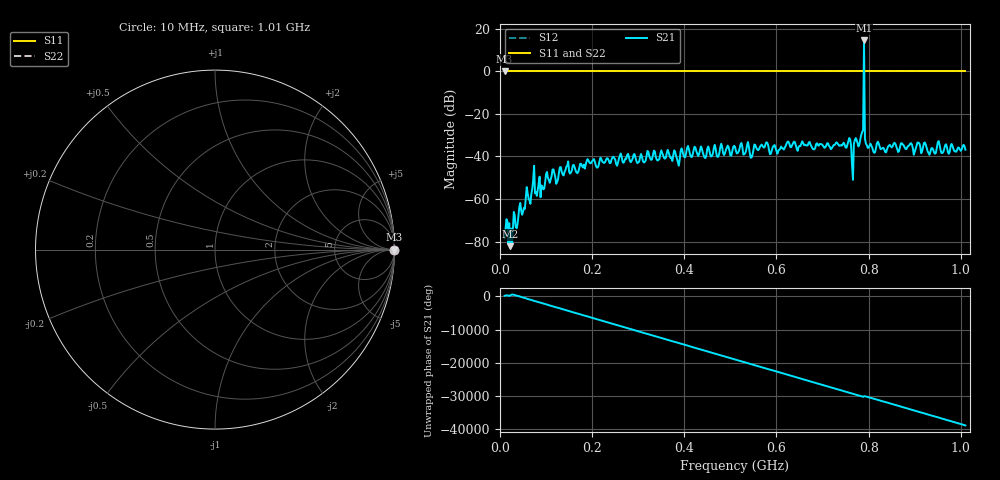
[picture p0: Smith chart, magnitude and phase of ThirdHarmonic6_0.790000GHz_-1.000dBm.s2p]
! 8/16/2025 2:22:01 AM
! C:\ANRITSUVNA\TEMP\TEMP.S2P
! CHANNEL.1
! TR.MEASUREMENT
! RAW.DATA
! RF.CORRECTION.OFF
! AVERAGING.OFF
! IF.BANDWIDTH: 5KHZ
! SWEEPTYPE:  FREQ.SWEEP(Linear)
! Reference Plane Port Info
! PORT:  PORT1  PORT2
! DISTANCE:  0  m  0  m
! TIME:  0  s  0  s
! PHASE.OFFSET:  0  deg.  0  deg.
! LOSS:  0  dB  0  dB
! REF.LOSS:  0  dB  0  dB
! REF.FREQ:  0  Hz  0  Hz
! Power Info
! POWER:  -20  dBm  -20  dBm
! EFF.POWER:  -20  dBm  -20  dBm
! SOURCE.ATTEN:  0  dB  0  dB
! TEST.ATTEN:  0  dB  0  dB
# GHZ S RI R 50.0
! FREQ.GHZ  S11RE  S11IM  S21RE  S21IM  S12RE  S12IM  S22RE  S22IM
!; PortSelection: Port_12
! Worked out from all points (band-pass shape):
!   501 points, 10 MHz to 1.01 GHz, reference 50 ohm
!   highest |S21| = 14.44 dB at 790 MHz (marker M1); lowest = -82.2 dB at 22 MHz (marker M2)
!   |S21| within 3 dB of the highest: 789.8575 MHz to 790.1303 MHz (272.8 kHz wide, 0.0345 % of centre)
!   lowest |S11| = 0.0 dB at 10 MHz (marker M3)
!   |S11| at or under -10 dB: nowhere
!   |S22| runs from 0.0 to 0.0 dB; largest |S21 - S12| = 6.2
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0.01  1 0  -9.14e-05 7.69e-05  1 0  1 0
0.016  1 0  -2.7e-06 -0.000302  1 0  1 0
0.022  1 0  -7.1e-06 -7.77e-05  1 0  1 0
0.058  1 0  0.0018 0.000611  1 0  1 0
0.066  1 0  0.000614 0.000466  1 0  1 0
0.072  1 0  -0.00272 0.000588  1 0  1 0
0.092  1 0  0.00118 0.00151  1 0  1 0
0.114  1 0  -0.000906 -0.00481  1 0  1 0
0.178  1 0  -0.00583 0.00077  1 0  1 0
0.344  1 0  0.00664 -0.00499  1 0  1 0
0.51  1 0  -0.00364 0.0164  1 0  1 0
0.678  1 0  -0.0153 0.00242  1 0  1 0
0.758  1 0  -0.0265 -0.00482  1 0  1 0
0.766  1 0  -0.00255 -0.0012  1 0  1 0
0.772  1 0  0.026 -0.0068  1 0  1 0
0.784  1 0  -0.021 -0.0242  1 0  1 0
0.786  1 0  -0.0264 0.0265  1 0  1 0
0.79  1 0  -4.65 -2.488  1 0  1 0
0.794  1 0  -0.0151 0.0134  1 0  1 0
0.796  1 0  0.00964 0.0158  1 0  1 0
0.844  1 0  0.0141 -0.0112  1 0  1 0
1.01  1 0  0.00232 0.0142  1 0  1 0
